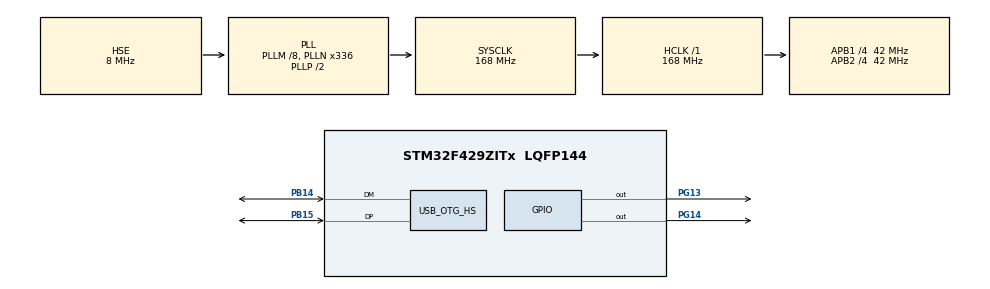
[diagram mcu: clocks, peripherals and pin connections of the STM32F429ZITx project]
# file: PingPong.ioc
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FREERTOS.Queues01=Queue01,16,GYRO_DATA_T,0,Dynamic,NULL,NULL;Queue02,16,uint16_t,0,Dynamic,NULL,NULL;Queue03,16,uint16_t,0,Dynamic,NULL,NULL
FREERTOS.Tasks01=Task01,0,128,StartTask01,Default,NULL,Dynamic,NULL,NULL;Task02,0,128,StartTask02,Default,NULL,Dynamic,NULL,NULL;Task03,0,128,StartTask03,Default,NULL,Dynamic,NULL,NULL;Task04,0,256,StartTask04,Default,NULL,Dynamic,NULL,NULL;Task05,-3,128,StartTask05,Default,NULL,Dynamic,NULL,NULL
Mcu.Family=STM32F4
Mcu.Name=STM32F429ZITx
Mcu.Package=LQFP144
NVIC.OTG_HS_IRQn=true\:5\:0\:false\:false\:true\:true\:true\:true\:true
NVIC.PriorityGroup=NVIC_PRIORITYGROUP_4
PA13.Mode=Serial_Wire
PA13.Signal=SYS_JTMS-SWDIO
PA14.Mode=Serial_Wire
PA14.Signal=SYS_JTCK-SWCLK
PB14.Mode=Device_Only_FS
PB14.Signal=USB_OTG_HS_DM
PB15.Mode=Device_Only_FS
PB15.Signal=USB_OTG_HS_DP
PG13.GPIO_Speed=GPIO_SPEED_FREQ_HIGH
PG13.Signal=GPIO_Output
PG14.GPIO_Speed=GPIO_SPEED_FREQ_HIGH
PG14.Signal=GPIO_Output
PH0/OSC_IN.Mode=HSE-External-Oscillator
PH0/OSC_IN.Signal=RCC_OSC_IN
PH1/OSC_OUT.Mode=HSE-External-Oscillator
PH1/OSC_OUT.Signal=RCC_OSC_OUT
ProjectManager.HeapSize=0x2000
ProjectManager.StackSize=0x400
ProjectManager.TargetToolchain=STM32CubeIDE
RCC.48MHZClocksFreq_Value=48000000
RCC.AHBFreq_Value=168000000
RCC.APB1CLKDivider=RCC_HCLK_DIV4
RCC.APB1Freq_Value=42000000
RCC.APB1TimFreq_Value=84000000
RCC.APB2CLKDivider=RCC_HCLK_DIV4
RCC.APB2Freq_Value=42000000
RCC.APB2TimFreq_Value=84000000
RCC.CortexFreq_Value=168000000
RCC.HCLKFreq_Value=168000000
RCC.HSE_VALUE=8000000
RCC.HSI_VALUE=16000000
RCC.LSE_VALUE=32768
RCC.PLLM=8
RCC.PLLN=336
RCC.PLLQ=7
RCC.SYSCLKFreq_VALUE=168000000
RCC.SYSCLKSource=RCC_SYSCLKSOURCE_PLLCLK
RCC.VCOOutputFreq_Value=336000000
USB_DEVICE.CLASS_NAME_HS=CDC
USB_DEVICE.VirtualMode-CDC_HS=Cdc
USB_DEVICE.VirtualModeHS=Cdc_HS
USB_OTG_HS.VirtualMode-Device_Only_FS=Device_Only_FS
VP_FREERTOS_VS_CMSIS_V1.Mode=CMSIS_V1
VP_USB_DEVICE_VS_USB_DEVICE_CDC_HS.Mode=CDC_HS
board=custom

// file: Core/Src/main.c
/* USER CODE BEGIN Header */
/**
  ******************************************************************************
  * @file           : main.c
  * @brief          : Main program body
  ******************************************************************************
  * @attention
  *
  * Copyright (c) 2022 STMicroelectronics.
  * All rights reserved.
  *
  * This software is licensed under terms that can be found in the LICENSE file
  * in the root directory of this software component.
  * If no LICENSE file comes with this software, it is provided AS-IS.
  *
  ******************************************************************************
  */
/* USER CODE END Header */
#include "main.h"
#include "cmsis_os.h"
#include "usb_device.h"
#include "usbd_cdc_if.h"
#include "stm32f429i_discovery_lcd.h"

/* USER CODE BEGIN PD */
#define DT 0.01         // [s/loop] loop period. 20ms
#define G_GAIN 0.070     // [deg/s/LSB]
#define RAD_TO_DEG 57.29578
#define M_PI 3.14159265358979323846
/* USER CODE END PD */

osThreadId Task01Handle;
osThreadId Task02Handle;
osThreadId Task03Handle;
osThreadId Task04Handle;
osThreadId Task05Handle;
osMessageQId Queue01Handle;
osMessageQId Queue02Handle;
osMessageQId Queue03Handle;
/* USER CODE BEGIN PV */
float val[3];
char LCD_send[30];
char USB_send[30];
float rate_gyr_y = 0.0;   // [deg/s]
float rate_gyr_x = 0.0;   // [deg/s]
float rate_gyr_z = 0.0;   // [deg/s]
float gyroXangle = 0.0;
float gyroYangle = 0.0;
float gyroZangle = 0.0;
float tmpX = 0.0;
float tmpY = 0.0;
float tmpY1 = 0.0;
uint16_t high = 50;
uint16_t RX = 120;
uint16_t RY = 170;
uint16_t x = 5;
uint16_t flag = 0;
uint16_t ponk = 0;
uint16_t score = 0;
uint16_t loose = 0;
uint16_t h = 0;
uint16_t inc = 1;
uint16_t mode = 1;
typedef struct
{
  float x_ang_rate;
  float y_ang_rate;
  float z_ang_rate;

} GYRO_DATA_T;
/* USER CODE END PV */

void SystemClock_Config(void);
static void MX_GPIO_Init(void);
void StartTask01(void const * argument);
void StartTask02(void const * argument);
void StartTask03(void const * argument);
void StartTask04(void const * argument);
void StartTask05(void const * argument);

int main(void)
{

  /* MCU Configuration--------------------------------------------------------*/

  /* Reset of all peripherals, Initializes the Flash interface and the Systick. */
  HAL_Init();

  /* Configure the system clock */
  SystemClock_Config();

  /* Initialize all configured peripherals */
  MX_GPIO_Init();
  /* USER CODE BEGIN 2 */
  BSP_LCD_Init();//init LCD
  //set the layer buffer address into SDRAM
  BSP_LCD_LayerDefaultInit(1, SDRAM_DEVICE_ADDR);
  BSP_LCD_SelectLayer(1);//select on which layer we write
  BSP_LCD_DisplayOn();//turn on LCD
  BSP_LCD_Clear(LCD_COLOR_DARKGREEN);//clear the LCD on blue color
  BSP_LCD_SetBackColor(LCD_COLOR_DARKGREEN);//set text background color
  BSP_LCD_SetTextColor(LCD_COLOR_GREEN);//set text color
  /* USER CODE END 2 */

  /* Create the queue(s) */
  /* definition and creation of Queue01 */
  osMessageQDef(Queue01, 16, GYRO_DATA_T);
  Queue01Handle = osMessageCreate(osMessageQ(Queue01), NULL);

  /* definition and creation of Queue02 */
  osMessageQDef(Queue02, 16, uint16_t);
  Queue02Handle = osMessageCreate(osMessageQ(Queue02), NULL);

  /* definition and creation of Queue03 */
  osMessageQDef(Queue03, 16, uint16_t);
  Queue03Handle = osMessageCreate(osMessageQ(Queue03), NULL);

  /* Create the thread(s) */
  /* definition and creation of Task01 */
  osThreadDef(Task01, StartTask01, osPriorityNormal, 0, 128);
  Task01Handle = osThreadCreate(osThread(Task01), NULL);

  /* definition and creation of Task02 */
  osThreadDef(Task02, StartTask02, osPriorityNormal, 0, 128);
  Task02Handle = osThreadCreate(osThread(Task02), NULL);

  /* definition and creation of Task03 */
  osThreadDef(Task03, StartTask03, osPriorityNormal, 0, 128);
  Task03Handle = osThreadCreate(osThread(Task03), NULL);

  /* definition and creation of Task04 */
  osThreadDef(Task04, StartTask04, osPriorityNormal, 0, 256);
  Task04Handle = osThreadCreate(osThread(Task04), NULL);

  /* definition and creation of Task05 */
  osThreadDef(Task05, StartTask05, osPriorityIdle, 0, 128);
  Task05Handle = osThreadCreate(osThread(Task05), NULL);

  /* Start scheduler */
  osKernelStart();

  /* We should never get here as control is now taken by the scheduler */
  /* Infinite loop */
  while (1)
  {

  }
}

void SystemClock_Config(void)
{
  RCC_OscInitTypeDef RCC_OscInitStruct = {0};
  RCC_ClkInitTypeDef RCC_ClkInitStruct = {0};

  /** Configure the main internal regulator output voltage
  */
  __HAL_RCC_PWR_CLK_ENABLE();
  __HAL_PWR_VOLTAGESCALING_CONFIG(PWR_REGULATOR_VOLTAGE_SCALE1);

  /** Initializes the RCC Oscillators according to the specified parameters
  * in the RCC_OscInitTypeDef structure.
  */
  RCC_OscInitStruct.OscillatorType = RCC_OSCILLATORTYPE_HSE;
  RCC_OscInitStruct.HSEState = RCC_HSE_ON;
  RCC_OscInitStruct.PLL.PLLState = RCC_PLL_ON;
  RCC_OscInitStruct.PLL.PLLSource = RCC_PLLSOURCE_HSE;
  RCC_OscInitStruct.PLL.PLLM = 8;
  RCC_OscInitStruct.PLL.PLLN = 336;
  RCC_OscInitStruct.PLL.PLLP = RCC_PLLP_DIV2;
  RCC_OscInitStruct.PLL.PLLQ = 7;
  if (HAL_RCC_OscConfig(&RCC_OscInitStruct) != HAL_OK)
  {
    Error_Handler();
  }

  /** Initializes the CPU, AHB and APB buses clocks
  */
  RCC_ClkInitStruct.ClockType = RCC_CLOCKTYPE_HCLK|RCC_CLOCKTYPE_SYSCLK
                              |RCC_CLOCKTYPE_PCLK1|RCC_CLOCKTYPE_PCLK2;
  RCC_ClkInitStruct.SYSCLKSource = RCC_SYSCLKSOURCE_PLLCLK;
  RCC_ClkInitStruct.AHBCLKDivider = RCC_SYSCLK_DIV1;
  RCC_ClkInitStruct.APB1CLKDivider = RCC_HCLK_DIV4;
  RCC_ClkInitStruct.APB2CLKDivider = RCC_HCLK_DIV4;

  if (HAL_RCC_ClockConfig(&RCC_ClkInitStruct, FLASH_LATENCY_5) != HAL_OK)
  {
    Error_Handler();
  }
}

static void MX_GPIO_Init(void)
{
  GPIO_InitTypeDef GPIO_InitStruct = {0};

  /* GPIO Ports Clock Enable */
  __HAL_RCC_GPIOH_CLK_ENABLE();
  __HAL_RCC_GPIOB_CLK_ENABLE();
  __HAL_RCC_GPIOA_CLK_ENABLE();
  __HAL_RCC_GPIOG_CLK_ENABLE();

  /*Configure GPIO pin Output Level */
  HAL_GPIO_WritePin(GPIOG, GPIO_PIN_13|GPIO_PIN_14, GPIO_PIN_RESET);

  /*Configure GPIO pins : PG13 PG14 */
  GPIO_InitStruct.Pin = GPIO_PIN_13|GPIO_PIN_14;
  GPIO_InitStruct.Mode = GPIO_MODE_OUTPUT_PP;
  GPIO_InitStruct.Pull = GPIO_NOPULL;
  GPIO_InitStruct.Speed = GPIO_SPEED_FREQ_HIGH;
  HAL_GPIO_Init(GPIOG, &GPIO_InitStruct);

}

/* USER CODE BEGIN 4 */
void GYRO_Task(void)
{
	BSP_GYRO_Init();
	GYRO_DATA_T gyro_data;
	osSignalWait(0x1, osWaitForever); //Wait for signal. Check cmsis_os.c for API name.
	for (;;)
	  {
		BSP_GYRO_GetXYZ(val);

		rate_gyr_x = val[0]  * G_GAIN;
		rate_gyr_y = val[1]  * G_GAIN;
		rate_gyr_z = val[2]  * G_GAIN;
		//BSP_LCD_FillTriangle(120,95,145,10,50,50);
		gyro_data.x_ang_rate+=rate_gyr_x*DT;
		gyro_data.y_ang_rate+=rate_gyr_y*DT;
		gyro_data.z_ang_rate+=rate_gyr_z*DT;
		if (gyro_data.x_ang_rate > 360){
			gyro_data.x_ang_rate = 360;
		}
		tmpY = tmpX;
	    /*Send gyroscope data to USB*/
	    /*GYRO_DATA_T *gyro_tx;
	    gyro_tx->x_ang_rate = gyro_data.x_ang_rate;
	    gyro_tx->y_ang_rate = gyro_data.y_ang_rate;
	    gyro_tx->z_ang_rate = gyro_data.z_ang_rate;*/
		osMessagePut(Queue01Handle, (uint32_t)&gyro_data, 0); //Put data into mail queue.
	    osEvent event1 = osMessageGet(Queue02Handle, osWaitForever); //Get queue
	    h = event1.value.p;
	    if ((gyro_data.x_ang_rate-tmpX)>=10 && h<70 && h>50 && RX>110 && RX<140 && RY>160 && RY<190 && inc == 0){
	    	//osSignalSet(Task03Handle, 0x1);
	    	high = 60;
	    	RY = 170;
	    	RX = 120;
	    	if ((gyro_data.x_ang_rate-tmpX)>=50){
	    		mode = 1;
	    	}
	    	else{
	    		mode = 2;
	    	}
	    	ponk = 1;
	    	osDelay(100);
	    	ponk = 0;
	    	flag = 0;
	    	//flag = 2;
	    }
	    /*else if ((tmpY-gyro_data.y_ang_rate)>=10 && h<70 && h>50 && RX>110 && RX<140 && RY>160 && RY<190 && inc == 0){
			high = 60;
			RY = 170;
			RX = 120;
			mode = 3;
			ponk = 1;
			osDelay(100);
			ponk = 0;
			flag = 0;
		}
	    else if ((gyro_data.y_ang_rate-tmpY)>=20 && h<70 && h>50 && RX>110 && RX<140 && RY>160 && RY<190 && inc == 0){
	    	high = 60;
	    	RY = 170;
	    	RX = 120;
	    	mode = 3;
	    	ponk = 1;
	    	osDelay(100);
	    	ponk = 0;
	    	flag = 1;
	    }*/
	    else if (h == 30 || RY == 190 || RX == 140){
	    	loose = 1;
	    }
	    	  tmpX = gyro_data.x_ang_rate;
	    	  //tmpY = gyro_data.y_ang_rate;
	    	  //gyro_data.y_ang_rate = tmpX;
	    	  //for (int i = 0;i<1500000;i++);
	    	  osDelay(100);
	    	  gyro_data.x_ang_rate = 0;
	    	  //gyro_data.y_ang_rate = 0;
	  }
}

void SCORE_Task(void)
{
	for(;;){
	//osSignalWait(0x1, osWaitForever);
		if (ponk == 1){
			score = score + 1;
			osDelay(200);
			HAL_GPIO_WritePin(GPIOG, GPIO_PIN_13, GPIO_PIN_SET);
			osDelay(200);
			HAL_GPIO_WritePin(GPIOG, GPIO_PIN_13, GPIO_PIN_RESET);
		}
		if (loose == 1)
			HAL_GPIO_WritePin(GPIOG, GPIO_PIN_14, GPIO_PIN_SET);
	}
}

void LCD_Task(void)
{
	//LCD
	for (;;)
	{
		    if (mode == 1){
		    	BSP_LCD_Clear(LCD_COLOR_DARKCYAN);
		    	BSP_LCD_SetBackColor(LCD_COLOR_DARKCYAN); // xoa lcd
		    	sprintf (LCD_send,"score = %d,%d",score,h); // doi int thanh string
		    	BSP_LCD_DisplayStringAtLine(1,LCD_send); // in string o dong 1
		    	BSP_LCD_FillCircle(RX,RY,high); // ve hinh tron (x,y) R = high
		    	Mode1();
		    }
		    else if (mode == 2){
		    	BSP_LCD_Clear(LCD_COLOR_DARKCYAN);
		    	BSP_LCD_SetBackColor(LCD_COLOR_DARKCYAN);
		    	sprintf (LCD_send,"score = %d,%d",score,RY);
		    	BSP_LCD_DisplayStringAtLine(1,LCD_send);
		    	BSP_LCD_FillCircle(RX,RY,high);
		    	Mode2();
		    }
		    /*else if (mode == 3){
		    	BSP_LCD_Clear(LCD_COLOR_DARKCYAN);
		    	BSP_LCD_SetBackColor(LCD_COLOR_DARKCYAN);
		    	sprintf (LCD_send,"score = %d,%d",score,RX);
		    	BSP_LCD_DisplayStringAtLine(1,LCD_send);
		    	BSP_LCD_FillCircle(RX,RY,high);
		    	Mode3();
		    }*/
	}
}

void Mode1(void) // bong to dần
{
	if (flag == 0){
		high= high + x;
		inc = 1;
		if (high == 120){
			flag = 1;
		}
	}
	else if (flag == 1){
		high = high - x;
		inc = 0;
		if (high == 20){
			flag = 0;
		}
	}
	osMessagePut(Queue02Handle, high, 0);
	osDelay(100);
}

void Mode2(void) // bóng bay thẳng
{
	if (flag == 0){
		RY= RY - 10;
		inc = 1;
		if (RY == 80){
			flag = 1;
		}
	}
	else if (flag == 1){
		RY = RY + 10;
		inc = 0;
		if (RY == 220)	{
			flag = 0;
		}
	}
	osMessagePut(Queue02Handle, high, 0);
	osDelay(100);
}

/*void Mode4(void){
	if (flag == 0)
	{
		RX = RX + 10;
		inc = 1;
		if (RX == 180){
			flag = 1;
		}
	}
	else if (flag == 1){
		RX = RX + 10;
		inc = 0;
		if (RX == 140){
			flag = 0;
		}
	}
	osMessagePut(Queue02Handle, high, 0);
	osDelay(100);
}*/
void USB_Task(void)
{
	osSignalWait(0x1, 400);                        //Wait for USB host to configure port
	//BSP_LCD_FillTriangle(120,95,145,10,50,50);
	osSignalSet(Task02Handle, 0x1);                          //Set signal in Task 02
	for (;;)
	{
		//osEvent event = osMessageGet(Queue01Handle, osWaitForever); //Get queue
		//GYRO_DATA_T *gyro_rx = event.value.p;
		//sprintf(USB_send,"x = %f, y = %f, z = %f \n",gyro_rx->x_ang_rate,gyro_rx->y_ang_rate,gyro_rx->z_ang_rate);
		//sprintf(USB_send,"x = %f, tmpX = %f, high = %d\n",gyro_rx->x_ang_rate,tmpY,h);
		if (mode == 1){
			sprintf(USB_send,"high = %d\n",h);
		}
		else if (mode == 2){
			sprintf(USB_send,"high = %d\n",RY);
		}
		/*else if (mode == 3){
			sprintf(USB_send,"high = %d\n",RX);
		}*/
		CDC_Transmit_HS(USB_send,strlen(USB_send));
		osDelay(100);
	}
}

void GameOver(void)
{
	//osSignalWait(0x1, osWaitForever);
	//for(;;){
		//if (loose == 1)
			HAL_GPIO_WritePin(GPIOG, GPIO_PIN_14, GPIO_PIN_SET);
	//}
}

/* USER CODE END 4 */

void StartTask01(void const * argument)
{
  /* USER CODE BEGIN 5 */
  /* Infinite loop */
	LCD_Task();
  for(;;)
  {
    osDelay(1);
  }
  /* USER CODE END 5 */
}

void StartTask02(void const * argument)
{
  /* USER CODE BEGIN StartTask02 */
  /* Infinite loop */
	GYRO_Task();
  for(;;)
  {
    osDelay(1);
  }
  /* USER CODE END StartTask02 */
}

void StartTask03(void const * argument)
{
  /* USER CODE BEGIN StartTask03 */
  /* Infinite loop */
	SCORE_Task();
  for(;;)
  {
    osDelay(1);
  }
  /* USER CODE END StartTask03 */
}

void StartTask04(void const * argument)
{
	/* init code for USB_DEVICE */
	MX_USB_DEVICE_Init();
	USB_Task();
  for(;;)
  {
    osDelay(1);
  }
  /* USER CODE END StartTask04 */
}

void StartTask05(void const * argument)
{
  for(;;)
  {
    osDelay(1);
  }
}

void Error_Handler(void)
{
  __disable_irq();
  while (1)
  {
  }
}
